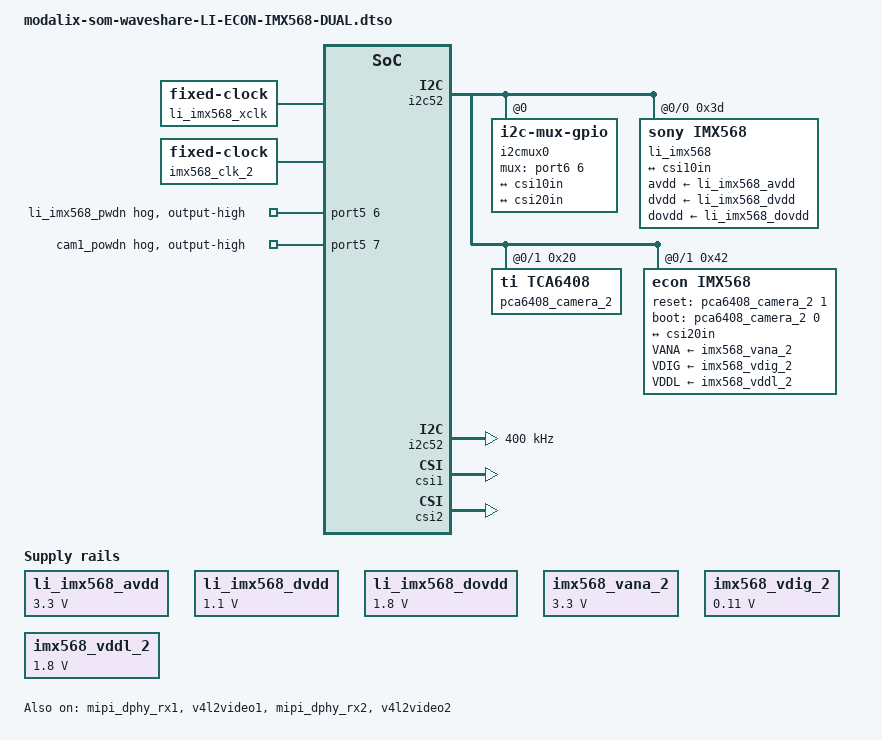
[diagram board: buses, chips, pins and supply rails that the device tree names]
// SPDX-License-Identifier: (GPL-2.0+ OR MIT)
/*
 * Copyright (c) 2026 SiMa ai
 *
 * LI IMX568 (CAM0/csi1, 0x3d) + econ IMX568 (CAM1/csi2, 0x42) together.
 * Both sensors sit behind the carrier's port6.6 i2c mux; a direct-on-parent
 * LI node starves once econ traffic flips the mux, so LI lives on channel 0.
 */

/dts-v1/;
/plugin/;

&{/} {
	li_imx568_xclk: li_imx568_camera-clk {
		compatible = "fixed-clock";
		#clock-cells = <0>;
		clock-frequency = <37125000>;
	};
	li_imx568_avdd: li_imx568_avdd_reg {
		compatible = "regulator-fixed";
		regulator-name = "li_imx568_avdd";
		regulator-min-microvolt = <3300000>;
		regulator-max-microvolt = <3300000>;
		startup-delay-us = <300000>;
		regulator-always-on;
	};
	li_imx568_dvdd: li_imx568_dvdd_reg {
		compatible = "regulator-fixed";
		regulator-name = "li_imx568_dvdd";
		regulator-min-microvolt = <1100000>;
		regulator-max-microvolt = <1100000>;
		regulator-always-on;
	};
	li_imx568_dovdd: li_imx568_dovdd_reg {
		compatible = "regulator-fixed";
		regulator-name = "li_imx568_dovdd";
		regulator-min-microvolt = <1800000>;
		regulator-max-microvolt = <1800000>;
		regulator-always-on;
	};

	imx568_vana_2: csi2_fixedregulator@0 {
		compatible = "regulator-fixed";
		regulator-name = "imx568_vana_2";
		regulator-min-microvolt = <3300000>;
		regulator-max-microvolt = <3300000>;
		enable-active-high;
		startup-delay-us = <300000>;
		regulator-always-on;
	};
	imx568_vdig_2: csi2_fixedregulator@1 {
		compatible = "regulator-fixed";
		regulator-name = "imx568_vdig_2";
		regulator-min-microvolt = <110000>;
		regulator-max-microvolt = <110000>;
		regulator-always-on;
	};
	imx568_vddl_2: csi2_fixedregulator@2 {
		compatible = "regulator-fixed";
		regulator-name = "imx568_vddl_2";
		regulator-min-microvolt = <1800000>;
		regulator-max-microvolt = <1800000>;
		regulator-always-on;
	};
	imx568_clk_2: csi2_camera-clk {
		compatible = "fixed-clock";
		#clock-cells = <0>;
		clock-frequency = <37125000>;
	};

	i2cmux0: i2cmux@0 {
		compatible = "i2c-mux-gpio";
		i2c-parent = <&i2c52>;
		#address-cells = <1>;
		#size-cells = <0>;
		mux-gpios = <&port6 6 0>;

		i2cmux0p0: i2c@0 {
			reg = <0>;
			#address-cells = <1>;
			#size-cells = <0>;

			li_imx568: imx568@3d {
				compatible = "sony,imx568";
				reg = <0x3d>;
				/* sensor stream-on takes ~600 ms; do not free-run the IPI before it */
				simaai,ipi-enable-delay-ms = <800>;
				clocks = <&li_imx568_xclk>;
				clock-names = "inck";
				avdd-supply = <&li_imx568_avdd>;
				dvdd-supply = <&li_imx568_dvdd>;
				dovdd-supply = <&li_imx568_dovdd>;

				port {
					li_imx568_out: endpoint {
						clock-lanes = <0>;
						data-lanes = <1 2>;
						link-frequencies = /bits/ 64 <594000000>;
						remote-endpoint = <&csi10in>;
						clock-continuous;
					};
				};
			};
		};

		i2cmux0p1: i2c@1 {
			reg = <1>;
			#address-cells = <1>;
			#size-cells = <0>;

			pca6408_camera_2: pca6408@20 {
				compatible = "ti,tca6408";
				gpio-controller;
				#gpio-cells = <2>;
				reg = <0x20>;
				status = "okay";
			};

			imx568: imx568@42 {
				compatible = "econ,imx568";
				reg = <0x42>;
				clocks = <&imx568_clk_2>;
				clock-names = "xclk";
				VANA-supply = <&imx568_vana_2>;
				VDIG-supply = <&imx568_vdig_2>;
				VDDL-supply = <&imx568_vddl_2>;
				reset-gpios = <&pca6408_camera_2 1 0>;
				boot-gpios  = <&pca6408_camera_2 0 0>;
				camera_mipi_lanes = <2>;
				cam_fw_name = "imx568_cam_fw.bin";

				/* Exposure window limits in microseconds (min 300 us, max 18 ms) */
				simaai,manual_exposure_min = <300>;
				simaai,manual_exposure_max = <18000>;

				port@1 {
					cam20out: endpoint@0 {
						clock-lanes = <0>;
						data-lanes = <1 2>;
						link-frequencies = /bits/ 64 <594000000>;
						remote-endpoint = <&csi20in>;
						clock-continuous;
					};
				};
			};
		};
	};
};

&port5 {
	li_imx568_pwdn_hog {
		gpio-hog;
		gpios = <6 0>;
		output-high;
		line-name = "li_imx568_pwdn";
	};
	cam-hog1 {
		gpio-hog;
		gpios = <7 0>;
		output-high;
		line-name = "cam1_powdn";
	};
};

&i2c52 {
	status = "okay";
	clock-frequency = <400000>;
	#address-cells = <1>;
	#size-cells = <0>;
};

&csi1 {
	status = "okay";
	simaai,bt-pixelclock = /bits/ 64 <500000000>;
	simaai,bt-hsync = <2>;
	simaai,bt-hbackporch = <100>;
	simaai,bt-hfrontporch = <1548>;
	simaai,bt-vsync = <1>;
	simaai,bt-vbackporch = <68>;
	simaai,bt-vfrontporch = <1>;
	simaai,ipi-controller-mode = <1>;
	simaai,ipi-emb-data-enable = <0>;
};

&csi2 {
	status = "okay";
	simaai,bt-pixelclock = /bits/ 64 <500000000>;
	simaai,bt-hsync = <2>;
	simaai,bt-hbackporch = <100>;
	simaai,bt-hfrontporch = <1548>;
	simaai,bt-vsync = <1>;
	simaai,bt-vbackporch = <68>;
	simaai,bt-vfrontporch = <1>;
	simaai,ipi-controller-mode = <1>;
	simaai,ipi-emb-data-enable = <0>;
};

&axi_vdma1	{ status = "okay"; };
&mipi_dphy_rx1	{ status = "okay"; };
&v4l2video1	{ status = "okay"; };
&v4l2vdma1	{ status = "okay"; };

&axi_vdma2	{ status = "okay"; };
&mipi_dphy_rx2	{ status = "okay"; };
&v4l2video2	{ status = "okay"; };
&v4l2vdma2	{ status = "okay"; };

&csi10in {
	clock-lanes = <0>;
	data-lanes = <1 2>;
	link-frequencies = /bits/ 64 <594000000>;
	remote-endpoint = <&li_imx568_out>;
	clock-continuous;
};

&csi20in {
	clock-lanes = <0>;
	data-lanes = <1 2>;
	link-frequencies = /bits/ 64 <594000000>;
	remote-endpoint = <&cam20out>;
	clock-continuous;
};
